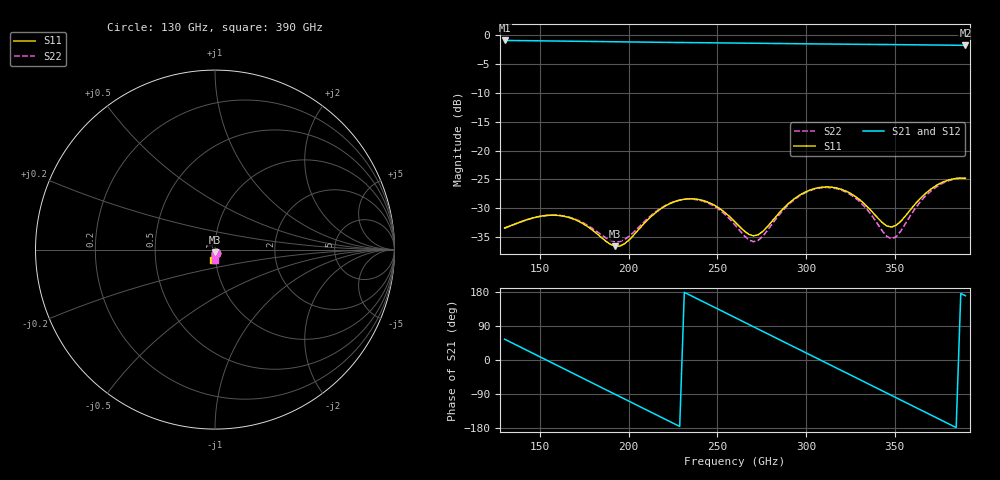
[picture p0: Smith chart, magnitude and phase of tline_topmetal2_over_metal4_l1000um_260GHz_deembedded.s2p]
! Created with skrf 2.2.0 (http://scikit-rf.org).
# GHz S DB R 50.0
! Port[1] = P1
! Port[2] = P2
!freq dBS11 angS11 dBS21 angS21 dBS12 angS12 dBS22 angS22
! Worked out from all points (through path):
!   101 points, 130 GHz to 390 GHz, reference 50 ohm
!   highest |S21| = -0.90 dB at 130 GHz (marker M1); lowest = -1.7 dB at 390 GHz (marker M2)
!   group delay of S21, straight-line fit = 6.47 ps
!   lowest |S11| = -36.6 dB at 192.4 GHz (marker M3), VSWR 1.03, Z = 50 - j1.49 ohm
!   |S11| at or under -10 dB: start of sweep to end of sweep
!   |S22| runs from -35.8 to -24.8 dB; largest |S21 - S12| = 1.6e-14
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130  -33.42 -73.0  -0.90 54.9  -0.90 54.9  -33.42 -73.3
143  -31.93 -77.5  -0.95 24.5  -0.95 24.5  -31.95 -77.8
153.4  -31.24 -86.1  -0.98 0.3  -0.98 0.3  -31.24 -86.0
163.8  -31.39 -96.3  -1.02 -24.0  -1.02 -24.0  -31.35 -95.7
174.2  -32.64 -104.5  -1.06 -48.2  -1.06 -48.2  -32.48 -103.4
184.6  -35.06 -103.6  -1.10 -72.5  -1.10 -72.5  -34.60 -102.2
192.4  -36.56 -89.0  -1.13 -90.6  -1.13 -90.6  -35.80 -89.5
205.4  -33.75 -63.3  -1.18 -120.9  -1.18 -120.9  -33.35 -67.5
218.4  -30.02 -68.4  -1.22 -151.1  -1.22 -151.1  -29.92 -72.4
228.8  -28.58 -81.2  -1.26 -175.3  -1.26 -175.3  -28.58 -84.9
239.2  -28.46 -95.4  -1.29 160.5  -1.29 160.5  -28.54 -99.2
260  -32.35 -110.2  -1.35 112.0  -1.35 112.0  -32.87 -114.7
270.4  -34.76 -89.9  -1.39 87.8  -1.39 87.8  -35.79 -91.0
280.8  -32.28 -66.2  -1.42 63.6  -1.42 63.6  -32.78 -63.8
293.8  -28.26 -69.3  -1.46 33.4  -1.46 33.4  -28.42 -68.0
304.2  -26.64 -81.8  -1.50 9.2  -1.50 9.2  -26.73 -81.5
322.4  -26.99 -106.5  -1.55 -33.1  -1.55 -33.1  -27.15 -108.2
335.4  -29.95 -115.5  -1.58 -63.3  -1.58 -63.3  -30.53 -119.5
348.4  -33.24 -91.1  -1.62 -93.6  -1.62 -93.6  -35.30 -89.6
358.8  -30.32 -68.3  -1.65 -117.8  -1.65 -117.8  -31.34 -58.6
371.8  -26.39 -74.0  -1.69 -148.1  -1.69 -148.1  -26.68 -65.2
390  -24.80 -99.7  -1.75 169.6  -1.75 169.6  -24.75 -90.9
